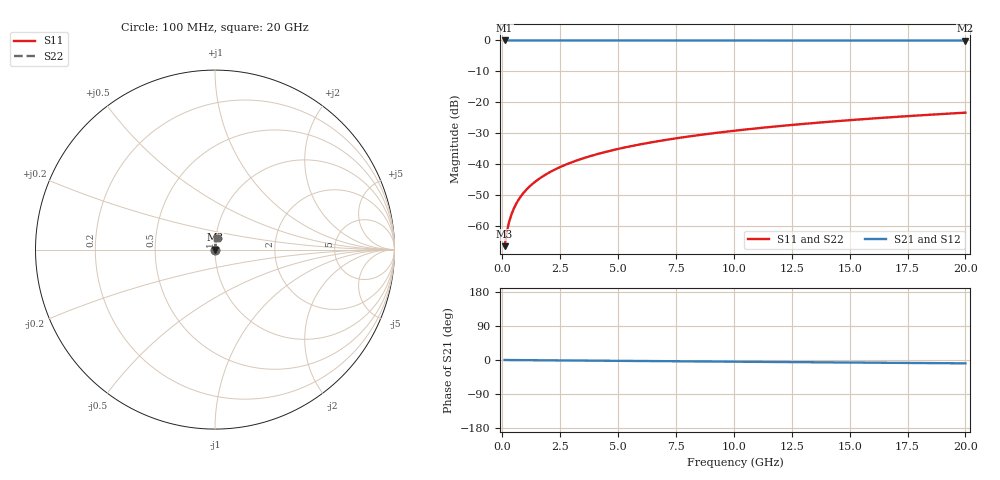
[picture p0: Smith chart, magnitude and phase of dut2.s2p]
! Touchstone file exported from HFSS 2026.1.0
!  File:  C:/ffzhzh/LocalFiles/Ansys_Project_Files/temp_test_TSV_2_1782977885_45568.aedt
!  Generated:  03:40:02 PM Jul  2, 2026
!  Design:  TSV
!  Project:  temp_test_TSV_2_1782977885_45568
! Variables:
!  h_bsmrdl = 2um
!  h_ox = 20um
!  h_rdl = 5um
!  h_sub = 75.88um
!  h_tmrdl = 5um
!  h_tsv = 75.88um
!  h_via = 3um
!  l_bsmrdl = 300um
!  l_sub = 412.1um
!  l_tmrdl = 200um
!  m_sub = 200um
!  pitch = 47.64um
!  r_tsv = 6.05um
!  s_tmrdl = 10um
!  w_bsmrdl = 18um
!  w_sub = 500um
!  w_tmrdl = 12um
!  x_tsv_center1 = 206um
!  x_tsv_center2 = 524um
!  x_tsv_center3 = 736um
!  x_tsv_center4 = 1054um
!  x_tsv_center5 = 1266um
!  x_tsv_center6 = 1584um
# GHz S MA R 50.000000
! Terminal data exported
! Port[1] = TSV1_1_T1
! Port[2] = TSV1_1_T2
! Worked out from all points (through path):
!   200 points, 100 MHz to 20 GHz, reference 50 ohm
!   highest |S21| = 0.00 dB at 100 MHz (marker M1); lowest = 0.0 dB at 20 GHz (marker M2)
!   group delay of S21, straight-line fit = 1.22 ps
!   lowest |S11| = -66.6 dB at 100 MHz (marker M3), VSWR 1.00, Z = 50 + j0.0382 ohm
!   |S11| at or under -10 dB: start of sweep to end of sweep
!   |S22| runs from -66.6 to -23.4 dB; largest |S21 - S12| = 5.2e-15
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0.1  0.0004685 54.6  0.9997 -0.0  0.9997 -0.0  0.0004685 54.6
! Gamma 0 0 0 0
! Port Impedance 50 0 50 0
0.2  0.0008125 69.8  0.9997 -0.1  0.9997 -0.1  0.0008125 69.8
0.3  0.001177 75.4  0.9997 -0.1  0.9997 -0.1  0.001177 75.4
0.4  0.001545 78.2  0.9997 -0.2  0.9997 -0.2  0.001545 78.2
0.5  0.001911 79.8  0.9997 -0.2  0.9997 -0.2  0.001911 79.8
0.6  0.002274 80.9  0.9996 -0.3  0.9996 -0.3  0.002274 80.9
0.7  0.002635 81.6  0.9996 -0.3  0.9996 -0.3  0.002635 81.6
0.8  0.002993 82.2  0.9996 -0.4  0.9996 -0.4  0.002993 82.2
1  0.003702 83.0  0.9996 -0.5  0.9996 -0.5  0.003702 83.0
1.4  0.005108 83.9  0.9995 -0.6  0.9995 -0.6  0.005108 83.9
1.7  0.006156 84.3  0.9995 -0.8  0.9995 -0.8  0.006156 84.3
2  0.007202 84.6  0.9994 -0.9  0.9994 -0.9  0.007202 84.6
2.7  0.009636 85.0  0.9993 -1.2  0.9993 -1.2  0.009636 85.0
3.5  0.0124 85.1  0.9992 -1.6  0.9992 -1.6  0.0124 85.1
4.2  0.01481 85.0  0.9991 -1.9  0.9991 -1.9  0.01481 85.0
5  0.01755 84.9  0.999 -2.2  0.999 -2.2  0.01755 84.9
6.8  0.02368 84.5  0.9987 -3.0  0.9987 -3.0  0.02368 84.5
8.3  0.02876 84.0  0.9985 -3.7  0.9985 -3.7  0.02876 84.0
10.1  0.03484 83.5  0.9981 -4.5  0.9981 -4.5  0.03484 83.5
13.4  0.04592 82.3  0.9975 -5.9  0.9975 -5.9  0.04592 82.3
16.7  0.05694 81.0  0.9968 -7.4  0.9968 -7.4  0.05694 81.0
20  0.06786 79.7  0.9959 -8.8  0.9959 -8.8  0.06786 79.7
